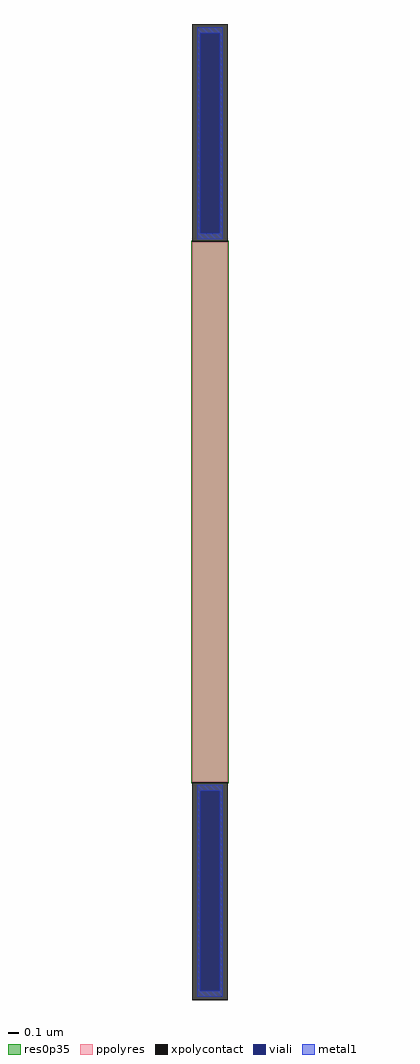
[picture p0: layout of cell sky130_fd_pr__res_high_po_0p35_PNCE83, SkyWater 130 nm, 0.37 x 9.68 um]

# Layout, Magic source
magic
tech sky130A
magscale 1 2
<< xpolycontact >>
rect -35 536 35 968
rect -35 -968 35 -536
<< ppolyres >>
rect -35 -536 35 536
<< viali >>
rect -19 553 19 950
rect -19 -950 19 -553
<< metal1 >>
rect -25 950 25 962
rect -25 553 -19 950
rect 19 553 25 950
rect -25 541 25 553
rect -25 -553 25 -541
rect -25 -950 -19 -553
rect 19 -950 25 -553
rect -25 -962 25 -950
<< res0p35 >>
rect -37 -538 37 538
<< properties >>
string gencell sky130_fd_pr__res_high_po_0p35
string parameters w 0.350 l 5.36 m 1 nx 1 wmin 0.350 lmin 0.50 rho 319.8 val 5.007k dummy 0 dw 0.0 term 19.188 sterm 0.0 caplen 0 guard 0 glc 0 grc 0 gtc 0 gbc 1 compatible {sky130_fd_pr__res_high_po_0p35  sky130_fd_pr__res_high_po_0p69 sky130_fd_pr__res_high_po_1p41  sky130_fd_pr__res_high_po_2p85 sky130_fd_pr__res_high_po_5p73} full_metal 0 wmax 0.350 vias 1 viagb 0 viagt 0 viagl 0 viagr 0
string library sky130
<< end >>
